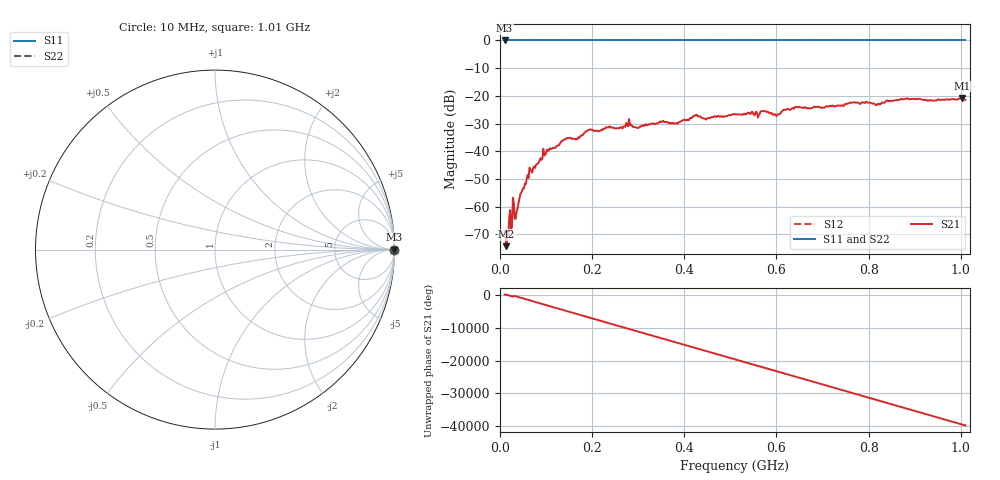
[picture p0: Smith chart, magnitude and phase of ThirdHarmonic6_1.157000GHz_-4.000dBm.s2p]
! 8/16/2025 11:33:05 AM
! C:\ANRITSUVNA\TEMP\TEMP.S2P
! CHANNEL.1
! TR.MEASUREMENT
! RAW.DATA
! RF.CORRECTION.OFF
! AVERAGING.OFF
! IF.BANDWIDTH: 5KHZ
! SWEEPTYPE:  FREQ.SWEEP(Linear)
! Reference Plane Port Info
! PORT:  PORT1  PORT2
! DISTANCE:  0  m  0  m
! TIME:  0  s  0  s
! PHASE.OFFSET:  0  deg.  0  deg.
! LOSS:  0  dB  0  dB
! REF.LOSS:  0  dB  0  dB
! REF.FREQ:  0  Hz  0  Hz
! Power Info
! POWER:  -20  dBm  -20  dBm
! EFF.POWER:  -20  dBm  -20  dBm
! SOURCE.ATTEN:  0  dB  0  dB
! TEST.ATTEN:  0  dB  0  dB
# GHZ S RI R 50.0
! FREQ.GHZ  S11RE  S11IM  S21RE  S21IM  S12RE  S12IM  S22RE  S22IM
!; PortSelection: Port_12
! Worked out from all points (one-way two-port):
!   501 points, 10 MHz to 1.01 GHz, reference 50 ohm
!   highest |S21| = -20.79 dB at 1.002 GHz (marker M1); lowest = -74.3 dB at 14 MHz (marker M2)
!   lowest |S11| = 0.0 dB at 10 MHz (marker M3)
!   |S11| at or under -10 dB: nowhere
!   |S22| runs from 0.0 to 0.0 dB; largest |S21 - S12| = 1.1
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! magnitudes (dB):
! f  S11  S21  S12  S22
! 10 MHz  0.0  -68.7  0.0  0.0
! 14 MHz  0.0  -74.3  0.0  0.0
! 26 MHz  0.0  -67.2  0.0  0.0
! 36 MHz  0.0  -61.9  0.0  0.0
! 46 MHz  0.0  -55.1  0.0  0.0
! 68 MHz  0.0  -47.2  0.0  0.0
! 106 MHz  0.0  -39.7  0.0  0.0
! 142 MHz  0.0  -35.6  0.0  0.0
! 178 MHz  0.0  -34.3  0.0  0.0
! 194 MHz  0.0  -32.2  0.0  0.0
! 344 MHz  0.0  -29.8  0.0  0.0
! 382 MHz  0.0  -29.9  0.0  0.0
! 424 MHz  0.0  -27.1  0.0  0.0
! 448 MHz  0.0  -28.6  0.0  0.0
! 510 MHz  0.0  -26.7  0.0  0.0
! 572 MHz  0.0  -25.5  0.0  0.0
! 602 MHz  0.0  -27.0  0.0  0.0
! 644 MHz  0.0  -24.0  0.0  0.0
! 678 MHz  0.0  -24.3  0.0  0.0
! 844 MHz  0.0  -21.9  0.0  0.0
! 1.002 GHz  0.0  -20.8  0.0  0.0
! 1.01 GHz  0.0  -21.5  0.0  0.0
